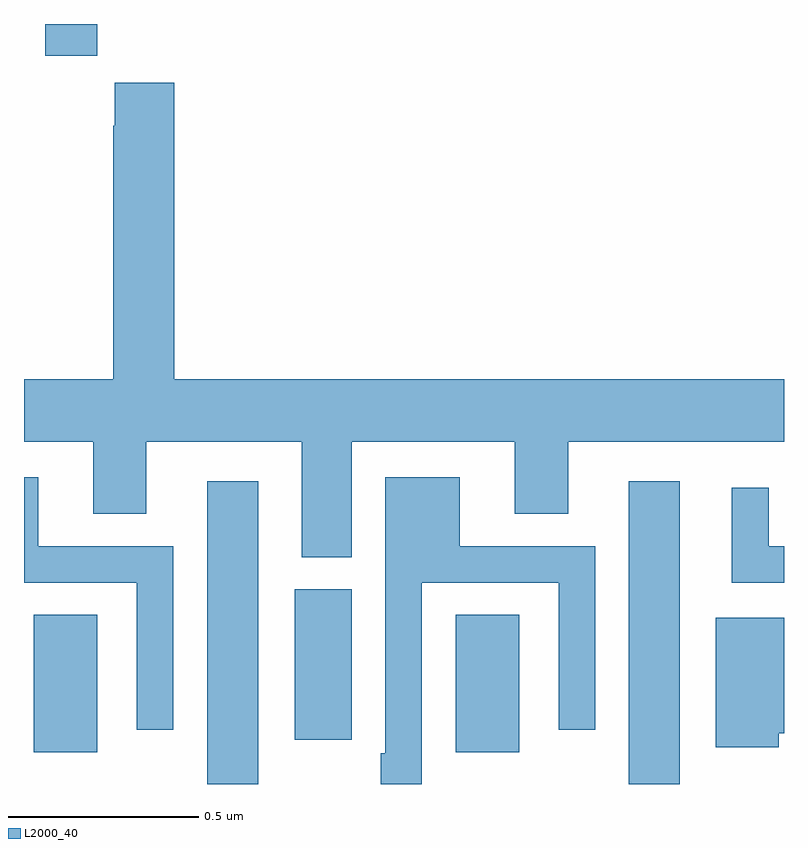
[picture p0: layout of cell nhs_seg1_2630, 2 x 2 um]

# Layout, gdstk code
import gdstk
lib = gdstk.Library(unit=1e-6, precision=1e-09)
def R(c, l, rs):  # rectangles x0, y0, x1, y1
    for r in rs: c.add(gdstk.rectangle(r[:2], r[2:], *l))
def P(c, l, *ps):  # polygons
    for p in ps: c.add(gdstk.Polygon(p, *l))
L2000_40 = (2000, 40)

nhs_seg1_2630 = lib.new_cell('nhs_seg1_2630')
R(nhs_seg1_2630, L2000_40, [(144.482,516.199,144.616,516.996), (145.592,516.199,145.726,516.996), (144.026,516.282,144.193,516.644), (145.136,516.282,145.303,516.644), (144.713,516.315,144.862,516.711), (144.056,518.115,144.193,518.199)])
P(nhs_seg1_2630, L2000_40, [(144.862,517.1),(145.292,517.1),(145.292,516.91),(145.432,516.91),(145.432,517.1),(146,517.1),(146,517.264),(144.395,517.264),(144.395,518.044),(144.239,518.044),(144.239,517.931),(144.235,517.931),(144.235,517.264),(144,517.264),(144,517.1),(144.182,517.1),(144.182,516.91),(144.322,516.91),(144.322,517.1),(144.731,517.1),(144.731,516.796),(144.862,516.796)],
  [(144.393,516.825),(144.037,516.825),(144.037,517.006),(144,517.006),(144,516.729),(144.297,516.729),(144.297,516.342),(144.393,516.342)],
  [(145.047,516.729),(145.407,516.729),(145.407,516.342),(145.503,516.342),(145.503,516.825),(145.147,516.825),(145.147,517.006),(144.951,517.006),(144.951,516.28),(144.939,516.28),(144.939,516.199),(145.047,516.199)],
  [(146,516.825),(145.96,516.825),(145.96,516.979),(145.862,516.979),(145.862,516.729),(146,516.729)],
  [(145.986,516.332),(146,516.332),(146,516.637),(145.82,516.637),(145.82,516.296),(145.986,516.296)])

lib.write_gds('nhs_seg1_2630.gds')
